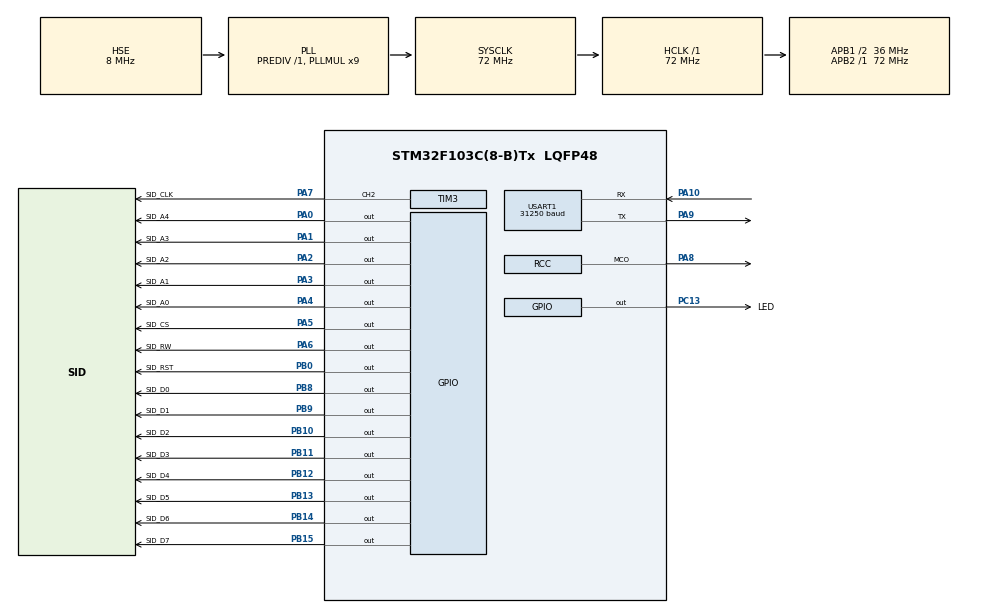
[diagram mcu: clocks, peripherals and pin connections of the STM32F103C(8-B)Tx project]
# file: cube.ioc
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Mcu.Family=STM32F1
PB10.GPIO_PuPd=GPIO_NOPULL
USART1.BaudRate=31250
PB14.GPIO_Label=SID_D6
PA6.GPIO_Label=SID_RW
PB0.GPIO_Label=SID_RST
NVIC.TIM1_UP_IRQn=true\:0\:0\:false\:false\:true\:true\:true
PB11.GPIO_PuPd=GPIO_NOPULL
PB13.GPIO_Label=SID_D5
PB11.Signal=GPIO_Output
PB13.Signal=GPIO_Output
PB15.Signal=GPIO_Output
RCC.SYSCLKSource=RCC_SYSCLKSOURCE_PLLCLK
ProjectManager.StackSize=0x400
PD1-OSC_OUT.Signal=RCC_OSC_OUT
TIM1.Prescaler=800
RCC.HCLKFreq_Value=72000000
RCC.APB2TimFreq_Value=72000000
TIM3.Period=35
RCC.AHBFreq_Value=72000000
RCC.RTCClockSelection=RCC_RTCCLKSOURCE_LSE
RCC.PLLMUL=RCC_PLL_MUL9
PB12.GPIO_Label=SID_D4
PC14-OSC32_IN.Mode=LSE-External-Oscillator
PA14.Mode=Serial_Wire
TIM3.Prescaler=0
PA8.Signal=RCC_MCO
VP_TIM1_VS_ClockSourceINT.Mode=Internal
TIM3.OCPolarity_2=TIM_OCPOLARITY_HIGH
Mcu.Package=LQFP48
PB9.Signal=GPIO_Output
PB14.GPIO_PuPd=GPIO_NOPULL
PA6.Signal=GPIO_Output
NVIC.TimeBase=TIM4_IRQn
PB15.GPIO_PuPd=GPIO_NOPULL
PA2.GPIO_Label=SID_A2
NVIC.TimeBaseIP=TIM4
PA10.Signal=USART1_RX
RCC.APB1TimFreq_Value=72000000
TIM1.Period=199
TIM3.Channel-Output\ Compare2\ CH2=TIM_CHANNEL_2
NVIC.USART1_IRQn=true\:0\:0\:false\:false\:true\:true\:true
PA4.GPIO_Label=SID_A0
VP_TIM3_VS_ClockSourceINT.Mode=Internal
PA3.Signal=GPIO_Output
RCC.PLLSourceVirtual=RCC_PLLSOURCE_HSE
PC15-OSC32_OUT.Mode=LSE-External-Oscillator
TIM3.CounterMode=TIM_COUNTERMODE_DOWN
PD1-OSC_OUT.Mode=HSE-External-Oscillator
PB9.GPIO_Label=SID_D1
PA10.Mode=Asynchronous
TIM3.AutoReloadPreload=TIM_AUTORELOAD_PRELOAD_DISABLE
PB11.GPIO_Label=SID_D3
PC13-TAMPER-RTC.Signal=GPIO_Output
PD0-OSC_IN.Signal=RCC_OSC_IN
RCC.APB1CLKDivider=RCC_HCLK_DIV2
PC14-OSC32_IN.Signal=RCC_OSC32_IN
PA0-WKUP.GPIO_Label=SID_A4
PA0-WKUP.Signal=GPIO_Output
PA13.Signal=SYS_JTMS-SWDIO
TIM1.AutoReloadPreload=TIM_AUTORELOAD_PRELOAD_ENABLE
PB8.GPIO_Label=SID_D0
PA9.Mode=Asynchronous
ProjectManager.TargetToolchain=STM32CubeIDE
PB10.GPIO_Label=SID_D2
PA9.Signal=USART1_TX
RCC.USBFreq_Value=72000000
PC15-OSC32_OUT.Signal=RCC_OSC32_OUT
PA1.Signal=GPIO_Output
PD0-OSC_IN.Mode=HSE-External-Oscillator
PB10.Signal=GPIO_Output
PB14.Signal=GPIO_Output
PA5.Signal=GPIO_Output
SH.S_TIM3_CH2.0=TIM3_CH2,Output Compare2 CH2
board=custom
PC13-TAMPER-RTC.GPIO_Label=LED
PB13.GPIO_PuPd=GPIO_NOPULL
TIM1.TIM_MasterOutputTrigger=TIM_TRGO_RESET
RCC.APB2Freq_Value=72000000
TIM3.OCMode_2=TIM_OCMODE_TOGGLE
PB15.GPIO_Label=SID_D7
VP_TIM2_VS_ClockSourceINT.Mode=Internal
PA1.GPIO_Label=SID_A3
RCC.RCC_MCOSource=RCC_MCO1SOURCE_PLLCLK
TIM3.Pulse-Output\ Compare2\ CH2=30
PA13.Mode=Serial_Wire
Mcu.Name=STM32F103C(8-B)Tx
PA2.Signal=GPIO_Output
TIM3.OC2Preload=ENABLE
PA4.Signal=GPIO_Output
RCC.SYSCLKFreq_VALUE=72000000
PA7.GPIO_Label=SID_CLK
PA5.GPIO_Label=SID_CS
USART1.VirtualMode=VM_ASYNC
PA14.Signal=SYS_JTCK-SWCLK
ProjectManager.HeapSize=0x200
VP_SYS_VS_tim4.Mode=TIM4
NVIC.PriorityGroup=NVIC_PRIORITYGROUP_4
PB8.Signal=GPIO_Output
PA8.Mode=Clock-out
TIM3.TIM_MasterOutputTrigger=TIM_TRGO_OC1REF
PB12.GPIO_PuPd=GPIO_NOPULL
NVIC.TIM4_IRQn=true\:0\:0\:false\:false\:true\:false\:true
RCC.APB1Freq_Value=36000000
PB0.Signal=GPIO_Output
PB12.Signal=GPIO_Output
PA3.GPIO_Label=SID_A1
PA7.Signal=S_TIM3_CH2

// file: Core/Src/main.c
/* USER CODE BEGIN Header */
/**
  ******************************************************************************
  * @file           : main.c
  * @brief          : Main program body
  ******************************************************************************
  * @attention
  *
  * <h2><center>&copy; Copyright (c) 2020 STMicroelectronics.
  * All rights reserved.</center></h2>
  *
  * This software component is licensed by ST under BSD 3-Clause license,
  * the "License"; You may not use this file except in compliance with the
  * License. You may obtain a copy of the License at:
  *                        opensource.org/licenses/BSD-3-Clause
  *
  ******************************************************************************
  */
/* USER CODE END Header */
#include "main.h"

/* USER CODE BEGIN Includes */
#include "sid.h"
/* USER CODE END Includes */

TIM_HandleTypeDef htim1;
TIM_HandleTypeDef htim2;
TIM_HandleTypeDef htim3;

UART_HandleTypeDef huart1;

void SystemClock_Config(void);
static void MX_GPIO_Init(void);
static void MX_TIM1_Init(void);
static void MX_TIM2_Init(void);
static void MX_TIM3_Init(void);
static void MX_USART1_UART_Init(void);

/* USER CODE BEGIN 0 */
uint8_t UART1_rxBuffer[12] = {0};
uint8_t last_midi[12] = {0};
uint8_t update_voices =0 ;
uint8_t midi_channel = 13;
uint8_t MIDI_STATE = 0;
uint8_t MIDI_CMD = 0;
uint8_t ch1_note = 0;
uint8_t ch1_on = 0;
uint8_t ch2_note = 0;
uint8_t ch2_on = 0;
uint8_t ch3_note = 0;
uint8_t ch3_on = 0;
static volatile uint8_t last_ch = 1;
#define MIDI_IDLE 0
#define MIDI_CMD_NOTE_OFF              0b10000000
#define MIDI_CMD_NOTE_ON               0b10010000
#define MIDI_CMD_NOTE_POLY_AFTERTOUCH  0b10100000
#define MIDI_CMD_CC                    0b10110000
#define MIDI_CMD_PC                    0b11000000
#define MIDI_CMD_PITCH_BEND            0b11100000
#define MIDI_CMD_CHANNEL_MODE_MSG      0b10110000

void update_ch(uint8_t ch,uint8_t note, uint8_t on) {
    if (on == 0) {
        if (ch1_note == note) {
            ch1_on = 0;
            return;
        } else if (ch2_note == note) {
            ch2_on = 0;
            return;
        } else if (ch3_note == note) {
            ch3_on = 0;
            return;
        }
    }
    if (ch == 1) {
        ch1_note = note;
        ch1_on = on;
    }
    if (ch == 2) {
        ch2_note = note;
        ch2_on = on;
    }
    if (ch == 3) {
        ch3_note = note;
        ch3_on = on;
    }
}
void HAL_UART_RxCpltCallback(UART_HandleTypeDef *huart) {
    HAL_UART_Receive_IT(&huart1, UART1_rxBuffer, 1);

    uint8_t b = UART1_rxBuffer[0];
    uint8_t m_chan = b & 0x0f;
    uint8_t m_cmd = b & 0xf0;
    if (MIDI_STATE == MIDI_IDLE) {
        if (m_chan != midi_channel) {
            return;
        }
        if (m_cmd == MIDI_CMD_NOTE_ON) {
            MIDI_STATE = MIDI_CMD_NOTE_ON;
        }
        if (m_cmd == MIDI_CMD_NOTE_OFF) {
            MIDI_STATE = MIDI_CMD_NOTE_OFF;
        }
        last_midi[0] = b;
    } else if (MIDI_STATE == MIDI_CMD_NOTE_ON) {
        last_midi[1] = b;
        if (b < 128) {
            update_ch(last_ch, b, 1);
            last_ch++;
        }
        update_voices = 1;
        MIDI_STATE = MIDI_IDLE;
    } else if (MIDI_STATE == MIDI_CMD_NOTE_OFF) {
        last_midi[1] = b;
        if (b < 128) {
            update_ch(last_ch, b, 0);
        }
        update_voices = 1;
        MIDI_STATE = MIDI_IDLE;
    }
    if (last_ch > 3) {
        uint8_t z = last_ch;
        last_ch = 1;

    };
}

/* USER CODE END 0 */

int main(void)
{

  /* MCU Configuration--------------------------------------------------------*/

  /* Reset of all peripherals, Initializes the Flash interface and the Systick. */
  HAL_Init();

  /* Configure the system clock */
  SystemClock_Config();

  /* Initialize all configured peripherals */
  MX_GPIO_Init();
  MX_TIM1_Init();
  MX_TIM2_Init();
  MX_TIM3_Init();
  MX_USART1_UART_Init();
  /* USER CODE BEGIN 2 */

  // timer needs to be started and OC needs to be enabled
  // stmcube doesnt do that
  HAL_TIM_OC_Start(&htim3,TIM_CHANNEL_2);
  HAL_TIM_Base_Start_IT(&htim1);
  HAL_TIM_Base_Start(&htim3);

  MX_USART1_UART_Init();

  HAL_UART_Receive_IT (&huart1, UART1_rxBuffer, 1);

  /* USER CODE END 2 */

  /* Infinite loop */
  /* USER CODE BEGIN WHILE */
  HAL_Delay(2000);
  sidplay(10);
  sidinit();
  while (1) {
      if (update_voices > 0) {
          update_voices=0;
          sid_note(1,ch1_note,ch1_on,127);
          sid_note(2,ch2_note,ch2_on,127);
          sid_note(3,ch3_note,ch3_on,127);
          HAL_GPIO_TogglePin(LED_GPIO_Port, LED_Pin);
      }
    /* USER CODE END WHILE */

  }
}

void SystemClock_Config(void)
{
  RCC_OscInitTypeDef RCC_OscInitStruct = {0};
  RCC_ClkInitTypeDef RCC_ClkInitStruct = {0};

  /** Initializes the RCC Oscillators according to the specified parameters
  * in the RCC_OscInitTypeDef structure.
  */
  RCC_OscInitStruct.OscillatorType = RCC_OSCILLATORTYPE_HSE;
  RCC_OscInitStruct.HSEState = RCC_HSE_ON;
  RCC_OscInitStruct.HSEPredivValue = RCC_HSE_PREDIV_DIV1;
  RCC_OscInitStruct.HSIState = RCC_HSI_ON;
  RCC_OscInitStruct.PLL.PLLState = RCC_PLL_ON;
  RCC_OscInitStruct.PLL.PLLSource = RCC_PLLSOURCE_HSE;
  RCC_OscInitStruct.PLL.PLLMUL = RCC_PLL_MUL9;
  if (HAL_RCC_OscConfig(&RCC_OscInitStruct) != HAL_OK)
  {
    Error_Handler();
  }
  /** Initializes the CPU, AHB and APB buses clocks
  */
  RCC_ClkInitStruct.ClockType = RCC_CLOCKTYPE_HCLK|RCC_CLOCKTYPE_SYSCLK
                              |RCC_CLOCKTYPE_PCLK1|RCC_CLOCKTYPE_PCLK2;
  RCC_ClkInitStruct.SYSCLKSource = RCC_SYSCLKSOURCE_PLLCLK;
  RCC_ClkInitStruct.AHBCLKDivider = RCC_SYSCLK_DIV1;
  RCC_ClkInitStruct.APB1CLKDivider = RCC_HCLK_DIV2;
  RCC_ClkInitStruct.APB2CLKDivider = RCC_HCLK_DIV1;

  if (HAL_RCC_ClockConfig(&RCC_ClkInitStruct, FLASH_LATENCY_2) != HAL_OK)
  {
    Error_Handler();
  }
  HAL_RCC_MCOConfig(RCC_MCO, RCC_MCO1SOURCE_PLLCLK, RCC_MCODIV_1);
}

static void MX_TIM1_Init(void)
{

  TIM_ClockConfigTypeDef sClockSourceConfig = {0};
  TIM_MasterConfigTypeDef sMasterConfig = {0};

  htim1.Instance = TIM1;
  htim1.Init.Prescaler = 800;
  htim1.Init.CounterMode = TIM_COUNTERMODE_UP;
  htim1.Init.Period = 199;
  htim1.Init.ClockDivision = TIM_CLOCKDIVISION_DIV1;
  htim1.Init.RepetitionCounter = 0;
  htim1.Init.AutoReloadPreload = TIM_AUTORELOAD_PRELOAD_ENABLE;
  if (HAL_TIM_Base_Init(&htim1) != HAL_OK)
  {
    Error_Handler();
  }
  sClockSourceConfig.ClockSource = TIM_CLOCKSOURCE_INTERNAL;
  if (HAL_TIM_ConfigClockSource(&htim1, &sClockSourceConfig) != HAL_OK)
  {
    Error_Handler();
  }
  sMasterConfig.MasterOutputTrigger = TIM_TRGO_RESET;
  sMasterConfig.MasterSlaveMode = TIM_MASTERSLAVEMODE_DISABLE;
  if (HAL_TIMEx_MasterConfigSynchronization(&htim1, &sMasterConfig) != HAL_OK)
  {
    Error_Handler();
  }
  /* USER CODE BEGIN TIM1_Init 2 */
   HAL_TIM_Base_Start_IT(&htim1);
  /* USER CODE END TIM1_Init 2 */

}

static void MX_TIM2_Init(void)
{

  TIM_ClockConfigTypeDef sClockSourceConfig = {0};
  TIM_MasterConfigTypeDef sMasterConfig = {0};

  htim2.Instance = TIM2;
  htim2.Init.Prescaler = 0;
  htim2.Init.CounterMode = TIM_COUNTERMODE_UP;
  htim2.Init.Period = 65535;
  htim2.Init.ClockDivision = TIM_CLOCKDIVISION_DIV1;
  htim2.Init.AutoReloadPreload = TIM_AUTORELOAD_PRELOAD_DISABLE;
  if (HAL_TIM_Base_Init(&htim2) != HAL_OK)
  {
    Error_Handler();
  }
  sClockSourceConfig.ClockSource = TIM_CLOCKSOURCE_INTERNAL;
  if (HAL_TIM_ConfigClockSource(&htim2, &sClockSourceConfig) != HAL_OK)
  {
    Error_Handler();
  }
  sMasterConfig.MasterOutputTrigger = TIM_TRGO_RESET;
  sMasterConfig.MasterSlaveMode = TIM_MASTERSLAVEMODE_DISABLE;
  if (HAL_TIMEx_MasterConfigSynchronization(&htim2, &sMasterConfig) != HAL_OK)
  {
    Error_Handler();
  }

}

static void MX_TIM3_Init(void)
{

  TIM_ClockConfigTypeDef sClockSourceConfig = {0};
  TIM_MasterConfigTypeDef sMasterConfig = {0};
  TIM_OC_InitTypeDef sConfigOC = {0};

  htim3.Instance = TIM3;
  htim3.Init.Prescaler = 0;
  htim3.Init.CounterMode = TIM_COUNTERMODE_DOWN;
  htim3.Init.Period = 35;
  htim3.Init.ClockDivision = TIM_CLOCKDIVISION_DIV1;
  htim3.Init.AutoReloadPreload = TIM_AUTORELOAD_PRELOAD_DISABLE;
  if (HAL_TIM_Base_Init(&htim3) != HAL_OK)
  {
    Error_Handler();
  }
  sClockSourceConfig.ClockSource = TIM_CLOCKSOURCE_INTERNAL;
  if (HAL_TIM_ConfigClockSource(&htim3, &sClockSourceConfig) != HAL_OK)
  {
    Error_Handler();
  }
  if (HAL_TIM_OC_Init(&htim3) != HAL_OK)
  {
    Error_Handler();
  }
  sMasterConfig.MasterOutputTrigger = TIM_TRGO_OC1REF;
  sMasterConfig.MasterSlaveMode = TIM_MASTERSLAVEMODE_DISABLE;
  if (HAL_TIMEx_MasterConfigSynchronization(&htim3, &sMasterConfig) != HAL_OK)
  {
    Error_Handler();
  }
  sConfigOC.OCMode = TIM_OCMODE_TOGGLE;
  sConfigOC.Pulse = 30;
  sConfigOC.OCPolarity = TIM_OCPOLARITY_HIGH;
  sConfigOC.OCFastMode = TIM_OCFAST_DISABLE;
  if (HAL_TIM_OC_ConfigChannel(&htim3, &sConfigOC, TIM_CHANNEL_2) != HAL_OK)
  {
    Error_Handler();
  }
  __HAL_TIM_ENABLE_OCxPRELOAD(&htim3, TIM_CHANNEL_2);
  HAL_TIM_MspPostInit(&htim3);

}

static void MX_USART1_UART_Init(void)
{

  huart1.Instance = USART1;
  huart1.Init.BaudRate = 31250;
  huart1.Init.WordLength = UART_WORDLENGTH_8B;
  huart1.Init.StopBits = UART_STOPBITS_1;
  huart1.Init.Parity = UART_PARITY_NONE;
  huart1.Init.Mode = UART_MODE_TX_RX;
  huart1.Init.HwFlowCtl = UART_HWCONTROL_NONE;
  huart1.Init.OverSampling = UART_OVERSAMPLING_16;
  if (HAL_UART_Init(&huart1) != HAL_OK)
  {
    Error_Handler();
  }

}

static void MX_GPIO_Init(void)
{
  GPIO_InitTypeDef GPIO_InitStruct = {0};

  /* GPIO Ports Clock Enable */
  __HAL_RCC_GPIOC_CLK_ENABLE();
  __HAL_RCC_GPIOD_CLK_ENABLE();
  __HAL_RCC_GPIOA_CLK_ENABLE();
  __HAL_RCC_GPIOB_CLK_ENABLE();

  /*Configure GPIO pin Output Level */
  HAL_GPIO_WritePin(LED_GPIO_Port, LED_Pin, GPIO_PIN_RESET);

  /*Configure GPIO pin Output Level */
  HAL_GPIO_WritePin(GPIOA, SID_A4_Pin|SID_A3_Pin|SID_A2_Pin|SID_A1_Pin
                          |SID_A0_Pin|SID_CS_Pin|SID_RW_Pin, GPIO_PIN_RESET);

  /*Configure GPIO pin Output Level */
  HAL_GPIO_WritePin(GPIOB, SID_RST_Pin|SID_D2_Pin|SID_D3_Pin|SID_D4_Pin
                          |SID_D5_Pin|SID_D6_Pin|SID_D7_Pin|SID_D0_Pin
                          |SID_D1_Pin, GPIO_PIN_RESET);

  /*Configure GPIO pin : LED_Pin */
  GPIO_InitStruct.Pin = LED_Pin;
  GPIO_InitStruct.Mode = GPIO_MODE_OUTPUT_PP;
  GPIO_InitStruct.Pull = GPIO_NOPULL;
  GPIO_InitStruct.Speed = GPIO_SPEED_FREQ_LOW;
  HAL_GPIO_Init(LED_GPIO_Port, &GPIO_InitStruct);

  /*Configure GPIO pins : SID_A4_Pin SID_A3_Pin SID_A2_Pin SID_A1_Pin
                           SID_A0_Pin SID_CS_Pin SID_RW_Pin */
  GPIO_InitStruct.Pin = SID_A4_Pin|SID_A3_Pin|SID_A2_Pin|SID_A1_Pin
                          |SID_A0_Pin|SID_CS_Pin|SID_RW_Pin;
  GPIO_InitStruct.Mode = GPIO_MODE_OUTPUT_PP;
  GPIO_InitStruct.Pull = GPIO_NOPULL;
  GPIO_InitStruct.Speed = GPIO_SPEED_FREQ_LOW;
  HAL_GPIO_Init(GPIOA, &GPIO_InitStruct);

  /*Configure GPIO pins : SID_RST_Pin SID_D2_Pin SID_D3_Pin SID_D4_Pin
                           SID_D5_Pin SID_D6_Pin SID_D7_Pin SID_D0_Pin
                           SID_D1_Pin */
  GPIO_InitStruct.Pin = SID_RST_Pin|SID_D2_Pin|SID_D3_Pin|SID_D4_Pin
                          |SID_D5_Pin|SID_D6_Pin|SID_D7_Pin|SID_D0_Pin
                          |SID_D1_Pin;
  GPIO_InitStruct.Mode = GPIO_MODE_OUTPUT_PP;
  GPIO_InitStruct.Pull = GPIO_NOPULL;
  GPIO_InitStruct.Speed = GPIO_SPEED_FREQ_LOW;
  HAL_GPIO_Init(GPIOB, &GPIO_InitStruct);

  /*Configure GPIO pin : PA8 */
  GPIO_InitStruct.Pin = GPIO_PIN_8;
  GPIO_InitStruct.Mode = GPIO_MODE_AF_PP;
  GPIO_InitStruct.Speed = GPIO_SPEED_FREQ_LOW;
  HAL_GPIO_Init(GPIOA, &GPIO_InitStruct);

}

void HAL_TIM_PeriodElapsedCallback(TIM_HandleTypeDef *htim)
{
  if (htim->Instance == TIM4) {
    HAL_IncTick();
  }
}

void Error_Handler(void)
{
}

/************************ (C) COPYRIGHT STMicroelectronics *****END OF FILE****/
